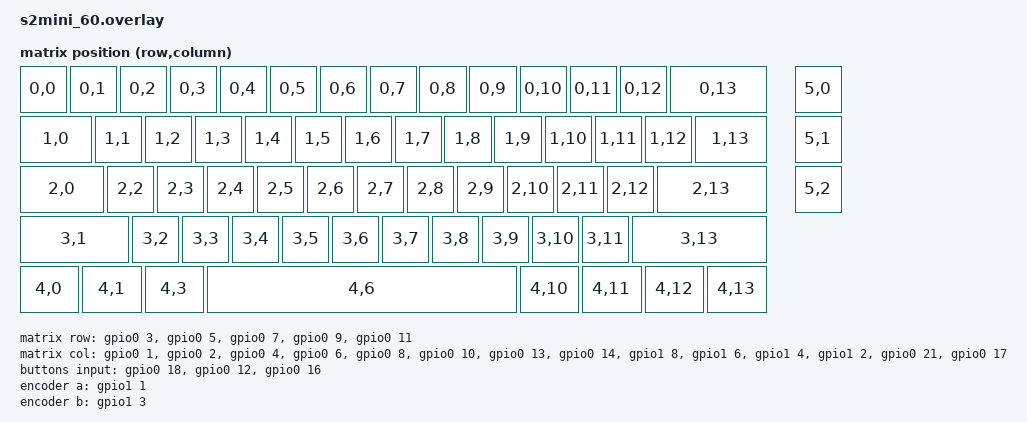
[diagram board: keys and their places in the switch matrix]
/*
 * ZMK: 60% ANSI keyboard from Keyboard-maker on a Wemos/Lolin S2 mini.
 * Pins as in the generator's wiring guide (5 x 14 matrix, COL2ROW diodes).
 * Also needs the s2mini_usb shield (USB OTG for the ESP32-S2) and the zmk-usb-next patch.
 * SPDX-License-Identifier: MIT
 */

#include <dt-bindings/zmk/matrix_transform.h>
#include <physical_layouts.dtsi>

/ {
    chosen {
        zmk,matrix-input = &kscan;
        zmk,physical-layout = &layout_s2mini_60;
        zmk,usb-hid = &zmk_hid;
        zephyr,display = &oled;
        zmk,studio-rpc-uart = &studio_cdc;
        s2mini,raw-hid = &raw_hid;
    };

    /* Matrix (rows 0-4) + OLED module buttons as row 5: PUSH, CON, BAK */
    kscan: kscan {
        compatible = "zmk,input-composite";
        rows = <6>;
        columns = <14>;

        matrix {
            input = <&matrix>;
        };

        buttons {
            input = <&buttons>;
            row-offset = <5>;
        };
    };

    matrix: matrix {
        compatible = "zmk,input-gpio-matrix";
        diode-direction = "col2row";
        row-gpios
            = <&gpio0 3 (GPIO_ACTIVE_HIGH | GPIO_PULL_DOWN)>  /* R0 = IO3 */
            , <&gpio0 5 (GPIO_ACTIVE_HIGH | GPIO_PULL_DOWN)>  /* R1 = IO5 */
            , <&gpio0 7 (GPIO_ACTIVE_HIGH | GPIO_PULL_DOWN)>  /* R2 = IO7 */
            , <&gpio0 9 (GPIO_ACTIVE_HIGH | GPIO_PULL_DOWN)>  /* R3 = IO9 */
            , <&gpio0 11 (GPIO_ACTIVE_HIGH | GPIO_PULL_DOWN)>  /* R4 = IO11 */
            ;
        col-gpios
            = <&gpio0 1 GPIO_ACTIVE_HIGH>  /* K0 = IO1 */
            , <&gpio0 2 GPIO_ACTIVE_HIGH>  /* K1 = IO2 */
            , <&gpio0 4 GPIO_ACTIVE_HIGH>  /* K2 = IO4 */
            , <&gpio0 6 GPIO_ACTIVE_HIGH>  /* K3 = IO6 */
            , <&gpio0 8 GPIO_ACTIVE_HIGH>  /* K4 = IO8 */
            , <&gpio0 10 GPIO_ACTIVE_HIGH>  /* K5 = IO10 */
            , <&gpio0 13 GPIO_ACTIVE_HIGH>  /* K6 = IO13 */
            , <&gpio0 14 GPIO_ACTIVE_HIGH>  /* K7 = IO14 */
            , <&gpio1 8 GPIO_ACTIVE_HIGH>  /* K8 = IO40 */
            , <&gpio1 6 GPIO_ACTIVE_HIGH>  /* K9 = IO38 */
            , <&gpio1 4 GPIO_ACTIVE_HIGH>  /* K10 = IO36 */
            , <&gpio1 2 GPIO_ACTIVE_HIGH>  /* K11 = IO34 */
            , <&gpio0 21 GPIO_ACTIVE_HIGH>  /* K12 = IO21 */
            , <&gpio0 17 GPIO_ACTIVE_HIGH>  /* K13 = IO17 */
            ;
    };

    /* The module buttons short to GND */
    buttons: buttons {
        compatible = "zmk,input-gpio-direct";
        input-gpios
            = <&gpio0 18 (GPIO_ACTIVE_LOW | GPIO_PULL_UP)>  /* PUSH (knob press) */
            , <&gpio0 12 (GPIO_ACTIVE_LOW | GPIO_PULL_UP)>  /* CON */
            , <&gpio0 16 (GPIO_ACTIVE_LOW | GPIO_PULL_UP)>  /* BAK */
            ;
    };

    default_transform: matrix_transform {
        compatible = "zmk,matrix-transform";
        rows = <6>;
        columns = <14>;
        map = <
RC(0,0) RC(0,1) RC(0,2) RC(0,3) RC(0,4) RC(0,5) RC(0,6) RC(0,7) RC(0,8) RC(0,9) RC(0,10) RC(0,11) RC(0,12) RC(0,13)
RC(1,0) RC(1,1) RC(1,2) RC(1,3) RC(1,4) RC(1,5) RC(1,6) RC(1,7) RC(1,8) RC(1,9) RC(1,10) RC(1,11) RC(1,12) RC(1,13)
RC(2,0) RC(2,2) RC(2,3) RC(2,4) RC(2,5) RC(2,6) RC(2,7) RC(2,8) RC(2,9) RC(2,10) RC(2,11) RC(2,12) RC(2,13)
RC(3,1) RC(3,2) RC(3,3) RC(3,4) RC(3,5) RC(3,6) RC(3,7) RC(3,8) RC(3,9) RC(3,10) RC(3,11) RC(3,13)
RC(4,0) RC(4,1) RC(4,3) RC(4,6) RC(4,10) RC(4,11) RC(4,12) RC(4,13)
RC(5,0) RC(5,1) RC(5,2)
        >;
    };

    layout_s2mini_60: layout_s2mini_60 {
        compatible = "zmk,physical-layout";
        display-name = "60% ANSI + OLED module";
        transform = <&default_transform>;
        keys  //                     w   h    x    y     rot    rx    ry
            = <&key_physical_attrs 100 100    0    0       0     0     0>
            , <&key_physical_attrs 100 100  100    0       0     0     0>
            , <&key_physical_attrs 100 100  200    0       0     0     0>
            , <&key_physical_attrs 100 100  300    0       0     0     0>
            , <&key_physical_attrs 100 100  400    0       0     0     0>
            , <&key_physical_attrs 100 100  500    0       0     0     0>
            , <&key_physical_attrs 100 100  600    0       0     0     0>
            , <&key_physical_attrs 100 100  700    0       0     0     0>
            , <&key_physical_attrs 100 100  800    0       0     0     0>
            , <&key_physical_attrs 100 100  900    0       0     0     0>
            , <&key_physical_attrs 100 100 1000    0       0     0     0>
            , <&key_physical_attrs 100 100 1100    0       0     0     0>
            , <&key_physical_attrs 100 100 1200    0       0     0     0>
            , <&key_physical_attrs 200 100 1300    0       0     0     0>
            , <&key_physical_attrs 150 100    0  100       0     0     0>
            , <&key_physical_attrs 100 100  150  100       0     0     0>
            , <&key_physical_attrs 100 100  250  100       0     0     0>
            , <&key_physical_attrs 100 100  350  100       0     0     0>
            , <&key_physical_attrs 100 100  450  100       0     0     0>
            , <&key_physical_attrs 100 100  550  100       0     0     0>
            , <&key_physical_attrs 100 100  650  100       0     0     0>
            , <&key_physical_attrs 100 100  750  100       0     0     0>
            , <&key_physical_attrs 100 100  850  100       0     0     0>
            , <&key_physical_attrs 100 100  950  100       0     0     0>
            , <&key_physical_attrs 100 100 1050  100       0     0     0>
            , <&key_physical_attrs 100 100 1150  100       0     0     0>
            , <&key_physical_attrs 100 100 1250  100       0     0     0>
            , <&key_physical_attrs 150 100 1350  100       0     0     0>
            , <&key_physical_attrs 175 100    0  200       0     0     0>
            , <&key_physical_attrs 100 100  175  200       0     0     0>
            , <&key_physical_attrs 100 100  275  200       0     0     0>
            , <&key_physical_attrs 100 100  375  200       0     0     0>
            , <&key_physical_attrs 100 100  475  200       0     0     0>
            , <&key_physical_attrs 100 100  575  200       0     0     0>
            , <&key_physical_attrs 100 100  675  200       0     0     0>
            , <&key_physical_attrs 100 100  775  200       0     0     0>
            , <&key_physical_attrs 100 100  875  200       0     0     0>
            , <&key_physical_attrs 100 100  975  200       0     0     0>
            , <&key_physical_attrs 100 100 1075  200       0     0     0>
            , <&key_physical_attrs 100 100 1175  200       0     0     0>
            , <&key_physical_attrs 225 100 1275  200       0     0     0>
            , <&key_physical_attrs 225 100    0  300       0     0     0>
            , <&key_physical_attrs 100 100  225  300       0     0     0>
            , <&key_physical_attrs 100 100  325  300       0     0     0>
            , <&key_physical_attrs 100 100  425  300       0     0     0>
            , <&key_physical_attrs 100 100  525  300       0     0     0>
            , <&key_physical_attrs 100 100  625  300       0     0     0>
            , <&key_physical_attrs 100 100  725  300       0     0     0>
            , <&key_physical_attrs 100 100  825  300       0     0     0>
            , <&key_physical_attrs 100 100  925  300       0     0     0>
            , <&key_physical_attrs 100 100 1025  300       0     0     0>
            , <&key_physical_attrs 100 100 1125  300       0     0     0>
            , <&key_physical_attrs 275 100 1225  300       0     0     0>
            , <&key_physical_attrs 125 100    0  400       0     0     0>
            , <&key_physical_attrs 125 100  125  400       0     0     0>
            , <&key_physical_attrs 125 100  250  400       0     0     0>
            , <&key_physical_attrs 625 100  375  400       0     0     0>
            , <&key_physical_attrs 125 100 1000  400       0     0     0>
            , <&key_physical_attrs 125 100 1125  400       0     0     0>
            , <&key_physical_attrs 125 100 1250  400       0     0     0>
            , <&key_physical_attrs 125 100 1375  400       0     0     0>
            , <&key_physical_attrs 100 100 1550    0       0     0     0>
            , <&key_physical_attrs 100 100 1550  100       0     0     0>
            , <&key_physical_attrs 100 100 1550  200       0     0     0>
            ;
    };

    encoder: encoder {
        /* Read every 1 ms (src/drivers/ec11_poll.c), not by interrupts: ZMK's alps,ec11 lost
         * clicks when the knob was turned slowly (contact bounce while its interrupts were off). */
        compatible = "s2mini,ec11-poll";
        /* A and B swapped: Marcin's OLED+EC11 module is rotated 180° (encoder on the left
         * of the island, screen on the right) and without the swap the knob turned the wrong way. */
        a-gpios = <&gpio1 1 (GPIO_ACTIVE_HIGH | GPIO_PULL_UP)>;  /* TRB = IO33 */
        b-gpios = <&gpio1 3 (GPIO_ACTIVE_HIGH | GPIO_PULL_UP)>;  /* TRA = IO35 */
        steps = <80>;
        pulses-per-detent = <4>;
        status = "okay";
    };

    sensors: sensors {
        compatible = "zmk,keymap-sensors";
        sensors = <&encoder>;
        triggers-per-rotation = <20>;
    };

    zmk_hid: zmk_hid {
        compatible = "zephyr,hid-device";
        label = "ZMK_HID";
        protocol-code = "keyboard";
        in-report-size = <64>;
        in-polling-period-us = <1000>;
    };

    /* Raw HID: data from the PC for the screen (PC app in pc-app/), usage page 0xFF60, 32 B */
    raw_hid: raw_hid {
        compatible = "zephyr,hid-device";
        label = "S2MINI_RAW";
        protocol-code = "none";
        in-report-size = <32>;
        in-polling-period-us = <10000>;
        out-report-size = <32>;
        out-polling-period-us = <10000>;
    };
};

&pinctrl {
    i2c0_s2mini_60: i2c0_s2mini_60 {
        group1 {
            pinmux = <I2C0_SDA_GPIO39>, <I2C0_SCL_GPIO37>;
            bias-pull-up;
            drive-open-drain;
            output-high;
        };
    };
};

&i2c0 {
    status = "okay";
    clock-frequency = <I2C_BITRATE_STANDARD>; /* 100 kHz: more reliable on the longer wires to the module */
    pinctrl-0 = <&i2c0_s2mini_60>;
    pinctrl-names = "default";

    /* 1.3" OLED module (SH1106 128 x 64) */
    oled: sh1106@3c {
        compatible = "sinowealth,sh1106";
        reg = <0x3c>;
        width = <128>;
        height = <64>;
        segment-offset = <2>;
        page-offset = <0>;
        display-offset = <0>;
        multiplex-ratio = <63>;
        /* Module mounted upside down: without segment-remap and com-invdir the image is rotated 180°. */
        prechargep = <0x22>;
    };
};

/* USB serial port (CDC ACM) for ZMK Studio */
&zephyr_udc0 {
    studio_cdc: studio_cdc {
        compatible = "zephyr,cdc-acm-uart";
    };
};

/*
 * The board's UART0 uses IO16/IO17, which here are BAK and column K13. The console must not
 * be disabled, though: without it CONFIG_ESP_CONSOLE_UART_NUM = -1, and Zephyr's startup code calls
 * esp_rom_output_tx_wait_idle(-1) and hangs before the system starts.
 * So UART0 goes to GPIO43/44, which are not broken out on the S2 mini.
 */
&pinctrl {
    uart0_s2mini_60: uart0_s2mini_60 {
        group1 {
            pinmux = <UART0_TX_GPIO43>;
            output-high;
        };
        group2 {
            pinmux = <UART0_RX_GPIO44>;
            bias-pull-up;
        };
    };
};

&uart0 {
    status = "okay";
    pinctrl-0 = <&uart0_s2mini_60>;
    pinctrl-names = "default";
};

/* Board button 0 is not part of the keyboard */
&{/gpio_keys} {
    status = "disabled";
};
